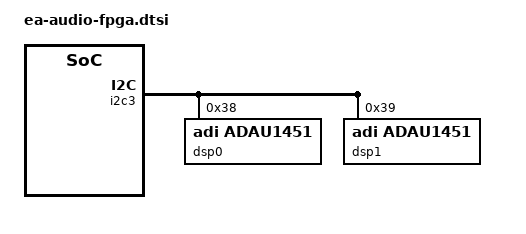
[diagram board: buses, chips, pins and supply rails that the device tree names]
// SPDX-License-Identifier: GPL-2.0
/*
 * EA-5 audio (`audio-fpga`): the Spartan-6 on PCIe routes the CPU's streams,
 * the ADCs, DACs, S/PDIF and the two ADAU1451s (one per zone). The FPGA is
 * found on PCI; this node is the card, with the DSPs as its aux devices.
 * See site/src/content/docs/ea/ea5.md.
 */
#include "ea-adau1451.dtsi"

&i2c3 {
	dsp0: audio-codec@38 {
		compatible = "adi,adau1451";
		reg = <0x38>;
		sound-name-prefix = "Zone 1";
	};
	dsp1: audio-codec@39 {
		compatible = "adi,adau1451";
		reg = <0x39>;
		sound-name-prefix = "Zone 2";
	};
};

/ {
	sound {
		compatible = "control4,ea5-audio";
		/* ALSA card id "openhcea5" */
		model = "openhc-ea5";
		control4,dsps = <&dsp0 &dsp1>;
		/* One per FPGA stream pair; rename each once its jacks are verified (#128). */
		control4,link-names = "Audio 1", "Audio 2", "Audio 3", "Audio 4";
	};
};
